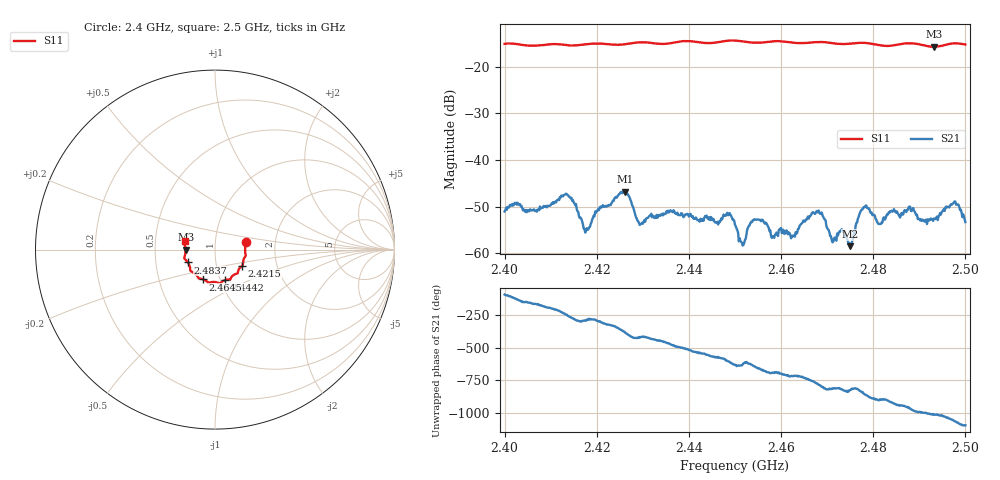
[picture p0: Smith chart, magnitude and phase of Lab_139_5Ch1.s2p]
# Hz S RI R 50
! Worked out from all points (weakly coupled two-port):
!   601 points, 2.4 GHz to 2.5 GHz, reference 50 ohm
!   highest |S21| = -46.85 dB at 2.4262 GHz (marker M1); lowest = -58.5 dB at 2.475 GHz (marker M2)
!   lowest |S11| = -15.7 dB at 2.4932 GHz (marker M3), VSWR 1.39, Z = 35.9 - j0.0456 ohm
!   |S11| at or under -10 dB: start of sweep to end of sweep
!   S12 and S22 are empty: the file has one direction only
!   S11 on the Smith chart (normalised r, x): 2.4 GHz: 1.41, +0.12; 2.4215 GHz: 1.33, -0.25; 2.4442 GHz: 1.05, -0.37; 2.4645 GHz: 0.83, -0.29; 2.4837 GHz: 0.73, -0.11; 2.5 GHz: 0.71, +0.07
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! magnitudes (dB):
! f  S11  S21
! 2.4 GHz  -15.1  -51.1
! 2.4133 GHz  -15.4  -47.3
! 2.4167 GHz  -15.3  -52.7
! 2.418 GHz  -15.2  -55.0
! 2.4215 GHz  -15.1  -50.1
! 2.4262 GHz  -15.2  -46.8
! 2.4293 GHz  -14.8  -54.0
! 2.4333 GHz  -15.1  -51.8
! 2.4442 GHz  -15.0  -52.3
! 2.45 GHz  -14.4  -53.9
! 2.4517 GHz  -14.6  -58.4
! 2.4543 GHz  -14.9  -52.8
! 2.4583 GHz  -14.5  -56.4
! 2.4645 GHz  -15.0  -53.6
! 2.4667 GHz  -14.8  -51.4
! 2.475 GHz  -15.1  -58.5
! 2.478 GHz  -14.9  -50.1
! 2.4833 GHz  -15.6  -51.3
! 2.4837 GHz  -15.5  -51.0
! 2.4932 GHz  -15.7  -52.6
! 2.4977 GHz  -15.0  -48.9
! 2.5 GHz  -15.3  -53.3
